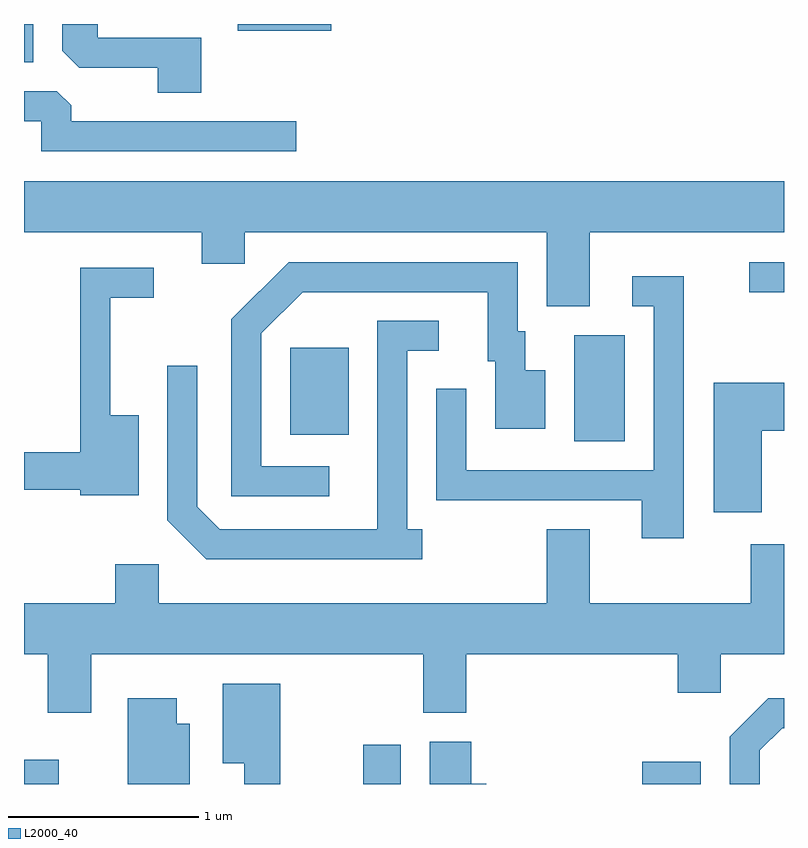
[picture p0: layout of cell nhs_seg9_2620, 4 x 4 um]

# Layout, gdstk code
import gdstk
lib = gdstk.Library(unit=1e-6, precision=1e-09)
def R(c, l, rs):  # rectangles x0, y0, x1, y1
    for r in rs: c.add(gdstk.rectangle(r[:2], r[2:], *l))
def P(c, l, *ps):  # polygons
    for p in ps: c.add(gdstk.Polygon(p, *l))
L2000_40 = (2000, 40)

nhs_seg9_2620 = lib.new_cell('nhs_seg9_2620')
R(nhs_seg9_2620, L2000_40, [(261.611,2024.432,261.794,2024.559), (263.396,2024.432,263.594,2024.639), (264.866,2024.432,265.174,2024.549), (264.506,2026.236,264.774,2026.794), (263.011,2026.271,263.319,2026.729), (265.428,2027.021,265.611,2027.179), (261.611,2028.231,261.659,2028.432), (262.736,2028.396,263.229,2028.432)])
P(nhs_seg9_2620, L2000_40, [(262.544,2028.359),(261.999,2028.359),(261.999,2028.432),(261.811,2028.432),(261.811,2028.292),(261.902,2028.201),(262.316,2028.201),(262.316,2028.071),(262.544,2028.071)],
  [(263.043,2027.919),(261.859,2027.919),(261.859,2028.004),(261.784,2028.079),(261.611,2028.079),(261.611,2027.921),(261.701,2027.921),(261.701,2027.761),(263.043,2027.761)],
  [(264.589,2027.336),(265.611,2027.336),(265.611,2027.604),(261.611,2027.604),(261.611,2027.336),(262.546,2027.336),(262.546,2027.171),(262.774,2027.171),(262.774,2027.336),(264.361,2027.336),(264.361,2026.946),(264.589,2026.946)],
  [(263.218,2026.104),(262.859,2026.104),(262.859,2026.804),(263.077,2027.021),(264.051,2027.021),(264.051,2026.656),(264.091,2026.656),(264.091,2026.301),(264.354,2026.301),(264.354,2026.609),(264.249,2026.609),(264.249,2026.814),(264.209,2026.814),(264.209,2027.179),(263.004,2027.179),(262.701,2026.877),(262.701,2025.946),(263.218,2025.946)],
  [(262.214,2026.374),(262.064,2026.374),(262.064,2026.991),(262.293,2026.991),(262.293,2027.149),(261.906,2027.149),(261.906,2026.179),(261.611,2026.179),(261.611,2025.981),(261.906,2025.981),(261.906,2025.951),(262.214,2025.951)],
  [(265.084,2027.104),(264.813,2027.104),(264.813,2026.946),(264.926,2026.946),(264.926,2026.084),(263.939,2026.084),(263.939,2026.513),(263.781,2026.513),(263.781,2025.926),(264.861,2025.926),(264.861,2025.726),(265.084,2025.726)],
  [(263.708,2025.774),(263.629,2025.774),(263.629,2026.711),(263.793,2026.711),(263.793,2026.869),(263.471,2026.869),(263.471,2025.774),(262.642,2025.774),(262.524,2025.892),(262.524,2026.633),(262.366,2026.633),(262.366,2025.819),(262.569,2025.616),(263.708,2025.616)],
  [(265.494,2026.291),(265.611,2026.291),(265.611,2026.544),(265.241,2026.544),(265.241,2025.861),(265.494,2025.861)],
  [(261.964,2025.116),(263.711,2025.116),(263.711,2024.806),(263.939,2024.806),(263.939,2025.116),(265.051,2025.116),(265.051,2024.911),(265.279,2024.911),(265.279,2025.116),(265.611,2025.116),(265.611,2025.694),(265.436,2025.694),(265.436,2025.384),(264.589,2025.384),(264.589,2025.774),(264.361,2025.774),(264.361,2025.384),(262.319,2025.384),(262.319,2025.589),(262.091,2025.589),(262.091,2025.384),(261.611,2025.384),(261.611,2025.116),(261.736,2025.116),(261.736,2024.806),(261.964,2024.806)],
  [(262.959,2024.959),(262.656,2024.959),(262.656,2024.541),(262.771,2024.541),(262.771,2024.432),(262.959,2024.432)],
  [(262.484,2024.749),(262.414,2024.749),(262.414,2024.884),(262.156,2024.884),(262.156,2024.432),(262.484,2024.432)],
  [(265.484,2024.609),(265.602,2024.726),(265.611,2024.726),(265.611,2024.884),(265.529,2024.884),(265.326,2024.682),(265.326,2024.432),(265.484,2024.432)],
  [(264.044,2024.434),(263.964,2024.434),(263.964,2024.654),(263.746,2024.654),(263.746,2024.432),(264.044,2024.432)])

lib.write_gds('nhs_seg9_2620.gds')
